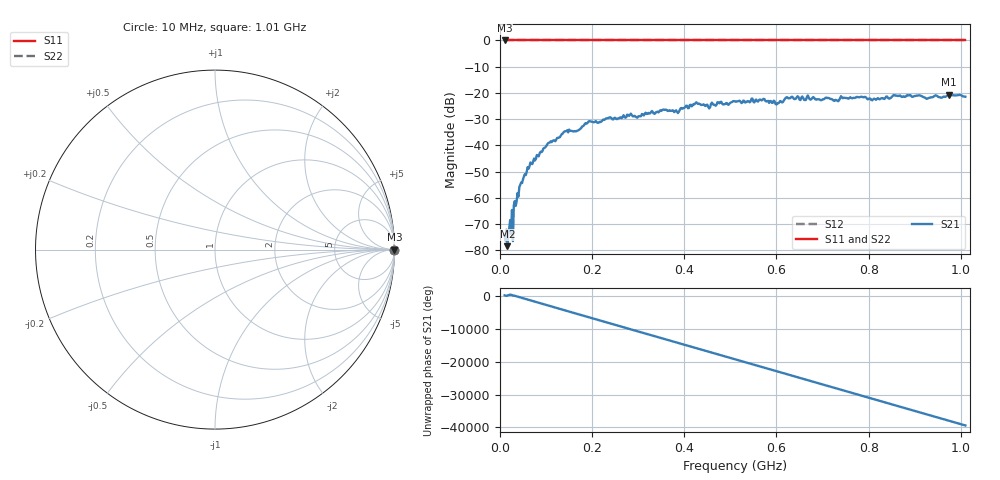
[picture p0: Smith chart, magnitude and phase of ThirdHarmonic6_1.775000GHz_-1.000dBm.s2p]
! 8/16/2025 9:27:07 PM
! C:\ANRITSUVNA\TEMP\TEMP.S2P
! CHANNEL.1
! TR.MEASUREMENT
! RAW.DATA
! RF.CORRECTION.OFF
! AVERAGING.OFF
! IF.BANDWIDTH: 5KHZ
! SWEEPTYPE:  FREQ.SWEEP(Linear)
! Reference Plane Port Info
! PORT:  PORT1  PORT2
! DISTANCE:  0  m  0  m
! TIME:  0  s  0  s
! PHASE.OFFSET:  0  deg.  0  deg.
! LOSS:  0  dB  0  dB
! REF.LOSS:  0  dB  0  dB
! REF.FREQ:  0  Hz  0  Hz
! Power Info
! POWER:  -20  dBm  -20  dBm
! EFF.POWER:  -20  dBm  -20  dBm
! SOURCE.ATTEN:  0  dB  0  dB
! TEST.ATTEN:  0  dB  0  dB
# GHZ S RI R 50.0
! FREQ.GHZ  S11RE  S11IM  S21RE  S21IM  S12RE  S12IM  S22RE  S22IM
!; PortSelection: Port_12
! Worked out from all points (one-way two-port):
!   501 points, 10 MHz to 1.01 GHz, reference 50 ohm
!   highest |S21| = -20.73 dB at 974 MHz (marker M1); lowest = -78.5 dB at 16 MHz (marker M2)
!   lowest |S11| = 0.0 dB at 10 MHz (marker M3)
!   |S11| at or under -10 dB: nowhere
!   |S22| runs from 0.0 to 0.0 dB; largest |S21 - S12| = 1.1
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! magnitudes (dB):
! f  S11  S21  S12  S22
! 10 MHz  0.0  -74.1  0.0  0.0
! 16 MHz  0.0  -78.5  0.0  0.0
! 20 MHz  0.0  -71.8  0.0  0.0
! 22 MHz  0.0  -68.5  0.0  0.0
! 24 MHz  0.0  -73.8  0.0  0.0
! 32 MHz  0.0  -61.3  0.0  0.0
! 34 MHz  0.0  -63.1  0.0  0.0
! 42 MHz  0.0  -55.8  0.0  0.0
! 64 MHz  0.0  -48.0  0.0  0.0
! 106 MHz  0.0  -39.0  0.0  0.0
! 142 MHz  0.0  -34.6  0.0  0.0
! 178 MHz  0.0  -32.8  0.0  0.0
! 196 MHz  0.0  -30.9  0.0  0.0
! 344 MHz  0.0  -27.4  0.0  0.0
! 424 MHz  0.0  -24.0  0.0  0.0
! 510 MHz  0.0  -23.3  0.0  0.0
! 602 MHz  0.0  -23.9  0.0  0.0
! 624 MHz  0.0  -21.7  0.0  0.0
! 678 MHz  0.0  -21.8  0.0  0.0
! 844 MHz  0.0  -22.2  0.0  0.0
! 974 MHz  0.0  -20.7  0.0  0.0
! 1.01 GHz  0.0  -21.5  0.0  0.0
